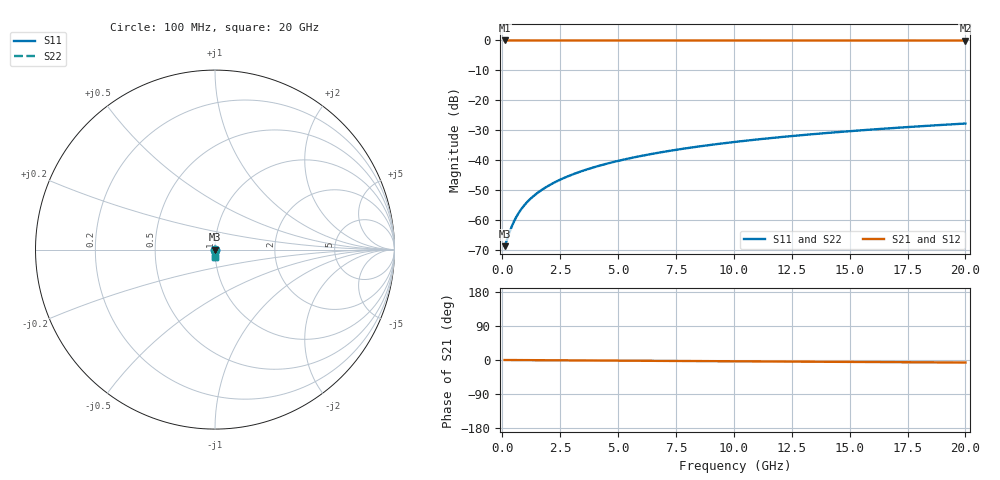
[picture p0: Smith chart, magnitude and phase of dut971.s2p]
! Touchstone file exported from HFSS 2026.1.0
!  File:  C:/ffzhzh/LocalFiles/Ansys_Project_Files/temp_train_TSV_971_1783187778_55132.aedt
!  Generated:  01:57:45 AM Jul  5, 2026
!  Design:  TSV
!  Project:  temp_train_TSV_971_1783187778_55132
! Variables:
!  h_bsmrdl = 2um
!  h_ox = 20um
!  h_rdl = 5um
!  h_sub = 67.82um
!  h_tmrdl = 5um
!  h_tsv = 67.82um
!  h_via = 3um
!  l_bsmrdl = 300um
!  l_sub = 410.32um
!  l_tmrdl = 200um
!  m_sub = 200um
!  pitch = 15.13um
!  r_tsv = 5.16um
!  s_tmrdl = 10um
!  w_bsmrdl = 18um
!  w_sub = 500um
!  w_tmrdl = 12um
!  x_tsv_center1 = 206um
!  x_tsv_center2 = 524um
!  x_tsv_center3 = 736um
!  x_tsv_center4 = 1054um
!  x_tsv_center5 = 1266um
!  x_tsv_center6 = 1584um
# GHz S MA R 50.000000
! Terminal data exported
! Port[1] = TSV1_1_T1
! Port[2] = TSV1_1_T2
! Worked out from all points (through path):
!   200 points, 100 MHz to 20 GHz, reference 50 ohm
!   highest |S21| = 0.00 dB at 100 MHz (marker M1); lowest = 0.0 dB at 20 GHz (marker M2)
!   lowest |S11| = -68.8 dB at 100 MHz (marker M3), VSWR 1.00, Z = 50 - j0.0139 ohm
!   |S11| at or under -10 dB: start of sweep to end of sweep
!   |S22| runs from -68.8 to -27.8 dB; largest |S21 - S12| = 6.6e-15
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0.1  0.0003646 -22.3  0.9997 -0.0  0.9997 -0.0  0.0003646 -22.3
! Gamma 0 0 0 0
! Port Impedance 50 0 50 0
0.3  0.0006034 -48.9  0.9996 -0.1  0.9996 -0.1  0.0006034 -48.9
0.4  0.0007636 -56.0  0.9996 -0.1  0.9996 -0.1  0.0007636 -56.0
0.5  0.0009354 -61.0  0.9995 -0.2  0.9995 -0.2  0.0009354 -61.0
0.6  0.001114 -64.8  0.9995 -0.2  0.9995 -0.2  0.001114 -64.8
0.7  0.001296 -67.7  0.9995 -0.2  0.9995 -0.2  0.001296 -67.7
0.9  0.001665 -71.8  0.9995 -0.3  0.9995 -0.3  0.001665 -71.8
1.2  0.002227 -75.7  0.9994 -0.4  0.9994 -0.4  0.002227 -75.7
1.6  0.002983 -78.7  0.9994 -0.6  0.9994 -0.6  0.002983 -78.7
2.1  0.003939 -80.8  0.9993 -0.7  0.9993 -0.7  0.003939 -80.8
2.7  0.005102 -82.3  0.9992 -0.9  0.9992 -0.9  0.005102 -82.3
3.5  0.006681 -83.7  0.9991 -1.2  0.9991 -1.2  0.006681 -83.7
4.2  0.008084 -84.5  0.999 -1.4  0.999 -1.4  0.008084 -84.5
5  0.009707 -85.3  0.9989 -1.7  0.9989 -1.7  0.009707 -85.3
5.9  0.01155 -86.0  0.9987 -2.0  0.9987 -2.0  0.01155 -86.0
6.8  0.01341 -86.7  0.9986 -2.3  0.9986 -2.3  0.01341 -86.7
8.3  0.01651 -87.8  0.9984 -2.8  0.9984 -2.8  0.01651 -87.8
10.1  0.02025 -88.9  0.9982 -3.4  0.9982 -3.4  0.02025 -88.9
11.7  0.02358 -89.8  0.998 -3.9  0.998 -3.9  0.02358 -89.8
13.4  0.02712 -90.6  0.9978 -4.5  0.9978 -4.5  0.02712 -90.6
16.7  0.03399 -92.1  0.9974 -5.6  0.9974 -5.6  0.03399 -92.1
20  0.04089 -93.5  0.9969 -6.7  0.9969 -6.7  0.04089 -93.5
